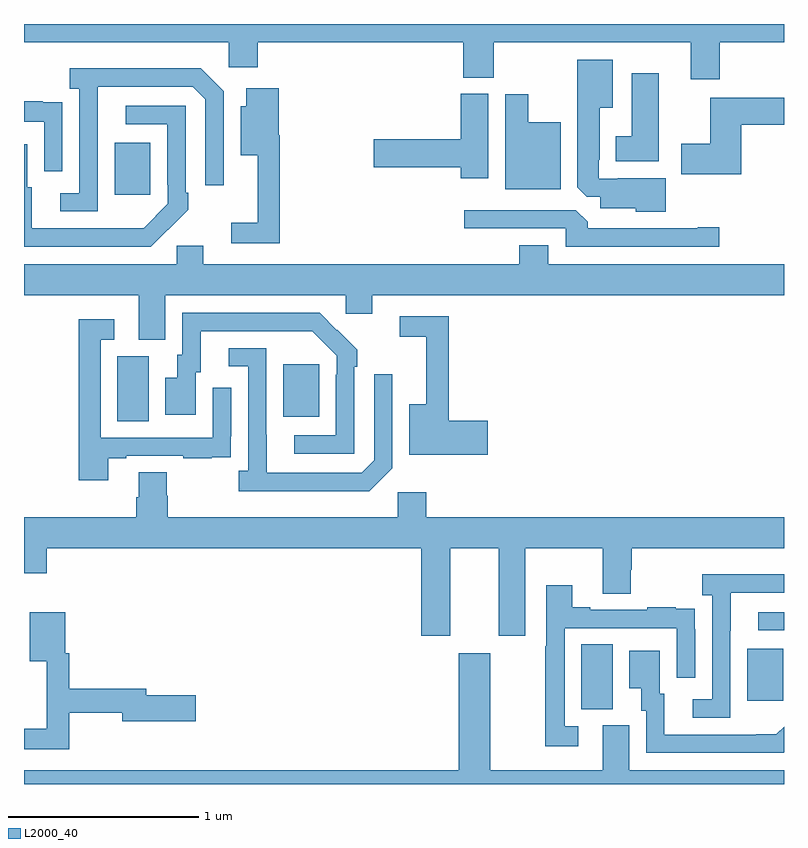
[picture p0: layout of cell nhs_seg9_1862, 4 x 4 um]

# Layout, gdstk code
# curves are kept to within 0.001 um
import gdstk
lib = gdstk.Library(unit=1e-6, precision=1e-09)
def R(c, l, rs):  # rectangles x0, y0, x1, y1
    for r in rs: c.add(gdstk.rectangle(r[:2], r[2:], *l))
def P(c, l, *ps):  # polygons
    for p in ps: c.add(gdstk.Polygon(p, *l))
L2000_40 = (2000, 40)

nhs_seg9_1862 = lib.new_cell('nhs_seg9_1862')
R(nhs_seg9_1862, L2000_40, [(217.934,1208.893,218.098,1209.236), (218.807,1208.937,218.995,1209.211), (218.865,1209.309,219,1209.405), (215.492,1210.408,215.656,1210.752), (216.365,1210.433,216.553,1210.708), (215.477,1211.601,215.665,1211.875)])
P(nhs_seg9_1862, L2000_40, [(218.663,1212.404),(219,1212.404),(219,1212.5),(215,1212.5),(215,1212.404),(216.078,1212.404),(216.078,1212.273),(216.23,1212.273),(216.23,1212.404),(217.313,1212.404),(217.313,1212.217),(217.473,1212.217),(217.473,1212.404),(218.51,1212.404),(218.51,1212.21),(218.663,1212.21)],
  [(218.377,1211.689),(218.125,1211.689),(218.125,1211.685),(218.025,1211.685),(218.025,1211.785),(218.029,1211.785),(218.029,1212.059),(218.098,1212.059),(218.098,1212.313),(217.913,1212.313),(217.913,1211.641),(217.962,1211.592),(218.033,1211.592),(218.033,1211.531),(218.22,1211.531),(218.22,1211.513),(218.377,1211.513)],
  [(215.388,1211.971),(215.389,1212.171),(215.889,1212.171),(215.955,1212.105),(215.955,1211.652),(216.051,1211.652),(216.051,1212.147),(215.93,1212.268),(215.241,1212.268),(215.241,1212.158),(215.292,1212.158),(215.292,1211.61),(215.19,1211.61),(215.19,1211.514),(215.388,1211.514)],
  [(218.341,1212.241),(218.198,1212.241),(218.198,1211.908),(218.114,1211.908),(218.114,1211.777),(218.341,1211.777)],
  [(216.347,1211.914),(216.341,1211.914),(216.341,1212.163),(216.17,1212.163),(216.17,1212.067),(216.14,1212.067),(216.14,1211.81),(216.23,1211.81),(216.23,1211.455),(216.09,1211.455),(216.09,1211.346),(216.347,1211.346)],
  [(217.444,1212.132),(217.298,1212.132),(217.298,1211.894),(216.84,1211.894),(216.84,1211.747),(217.298,1211.747),(217.298,1211.688),(217.444,1211.688)],
  [(217.825,1211.983),(217.654,1211.983),(217.654,1212.13),(217.532,1212.13),(217.532,1211.63),(217.825,1211.63)],
  [(218.775,1211.969),(219,1211.969),(219,1212.111),(218.612,1212.111),(218.612,1211.871),(218.46,1211.871),(218.46,1211.708),(218.775,1211.708)],
  [(215.202,1211.978),(215.201,1211.978),(215.201,1212.087),(215.099,1212.087),(215.099,1212.094),(215,1212.094),(215,1211.985),(215.106,1211.985),(215.106,1211.724),(215.202,1211.724)],
  [(215.759,1211.419),(215.76,1211.418),(215.865,1211.523),(215.865,1211.611),(215.85,1211.611),(215.85,1212.069),(215.535,1212.069),(215.535,1211.973),(215.754,1211.973),(215.754,1211.653),(215.757,1211.653),(215.757,1211.553),(215.629,1211.425),(215.041,1211.424),(215.041,1211.64),(215.017,1211.64),(215.017,1211.866),(215,1211.866),(215,1211.328),(215.668,1211.328)],
  [(218.659,1211.429),(218.546,1211.429),(218.546,1211.424),(217.967,1211.424),(217.967,1211.458),(217.905,1211.52),(217.317,1211.52),(217.317,1211.424),(217.851,1211.424),(217.851,1211.328),(218.659,1211.328)],
  [(215.743,1211.072),(216.693,1211.072),(216.693,1210.974),(216.832,1210.974),(216.832,1211.072),(219,1211.072),(219,1211.236),(217.759,1211.236),(217.759,1211.335),(217.607,1211.335),(217.607,1211.236),(215.944,1211.236),(215.944,1211.334),(215.805,1211.334),(215.805,1211.236),(215,1211.236),(215,1211.072),(215.603,1211.072),(215.603,1210.837),(215.743,1210.837)],
  [(216.738,1210.697),(216.753,1210.697),(216.753,1210.785),(216.556,1210.98),(215.832,1210.98),(215.832,1210.758),(215.807,1210.758),(215.807,1210.639),(215.744,1210.639),(215.744,1210.443),(215.905,1210.443),(215.905,1210.668),(215.929,1210.668),(215.929,1210.884),(216.517,1210.884),(216.645,1210.755),(216.645,1210.655),(216.642,1210.655),(216.642,1210.335),(216.423,1210.335),(216.423,1210.239),(216.738,1210.239)],
  [(217.441,1210.412),(217.235,1210.412),(217.235,1210.962),(216.978,1210.962),(216.978,1210.854),(217.118,1210.854),(217.118,1210.498),(217.028,1210.498),(217.028,1210.234),(217.441,1210.234)],
  [(215.443,1210.215),(215.539,1210.215),(215.539,1210.227),(215.839,1210.227),(215.839,1210.215),(215.987,1210.215),(215.987,1210.221),(216.089,1210.221),(216.089,1210.33),(216.09,1210.33),(216.09,1210.585),(215.994,1210.585),(215.994,1210.323),(215.403,1210.323),(215.403,1210.839),(215.476,1210.839),(215.476,1210.945),(215.287,1210.945),(215.287,1210.098),(215.443,1210.098)],
  [(216.939,1210.161),(216.939,1210.657),(216.843,1210.657),(216.843,1210.203),(216.777,1210.137),(216.277,1210.137),(216.276,1210.794),(216.078,1210.794),(216.078,1210.698),(216.18,1210.698),(216.18,1210.15),(216.129,1210.15),(216.129,1210.04),(216.818,1210.04)],
  [(215.751,1210.017),(215.751,1210.142),(215.603,1210.142),(215.603,1210.01),(215.591,1210.01),(215.591,1209.904),(215,1209.904),(215,1209.609),(215.12,1209.609),(215.12,1209.74),(217.091,1209.74),(217.091,1209.279),(217.243,1209.279),(217.243,1209.74),(217.499,1209.74),(217.499,1209.279),(217.639,1209.279),(217.639,1209.74),(218.045,1209.74),(218.045,1209.502),(218.193,1209.502),(218.193,1209.627),(218.198,1209.627),(218.198,1209.74),(219,1209.74),(219,1209.904),(217.118,1209.904),(217.118,1210.036),(216.966,1210.036),(216.966,1209.904),(215.756,1209.904),(215.756,1210.017)],
  [(218.718,1209.307),(218.719,1209.307),(218.719,1209.507),(219,1209.507),(219,1209.604),(218.571,1209.604),(218.571,1209.494),(218.622,1209.494),(218.622,1208.946),(218.52,1208.946),(218.52,1208.85),(218.718,1208.85)],
  [(217.918,1208.805),(217.845,1208.805),(217.845,1209.321),(218.436,1209.321),(218.436,1209.06),(218.532,1209.06),(218.532,1209.314),(218.531,1209.314),(218.531,1209.423),(218.429,1209.423),(218.429,1209.43),(218.281,1209.43),(218.281,1209.417),(217.981,1209.417),(217.981,1209.43),(217.885,1209.43),(217.885,1209.547),(217.749,1209.547),(217.749,1209.224),(217.744,1209.224),(217.744,1208.7),(217.918,1208.7)],
  [(215.237,1208.874),(215.516,1208.874),(215.516,1208.831),(215.905,1208.831),(215.905,1208.966),(215.644,1208.966),(215.644,1209.002),(215.237,1209.002),(215.237,1209.189),(215.218,1209.189),(215.218,1209.403),(215.03,1209.403),(215.03,1209.146),(215.12,1209.146),(215.12,1208.791),(215,1208.791),(215,1208.682),(215.237,1208.682)],
  [(219,1208.666),(219,1208.802),(218.959,1208.761),(218.371,1208.76),(218.371,1208.976),(218.347,1208.976),(218.347,1209.202),(218.186,1209.202),(218.186,1209.005),(218.249,1209.005),(218.249,1208.886),(218.274,1208.886),(218.274,1208.664),(218.998,1208.664)],
  [(219,1208.572),(218.185,1208.572),(218.185,1208.808),(218.045,1208.808),(218.045,1208.572),(217.453,1208.572),(217.453,1209.187),(217.289,1209.187),(217.289,1208.572),(215,1208.572),(215,1208.5),(219,1208.5)])

lib.write_gds('nhs_seg9_1862.gds')
